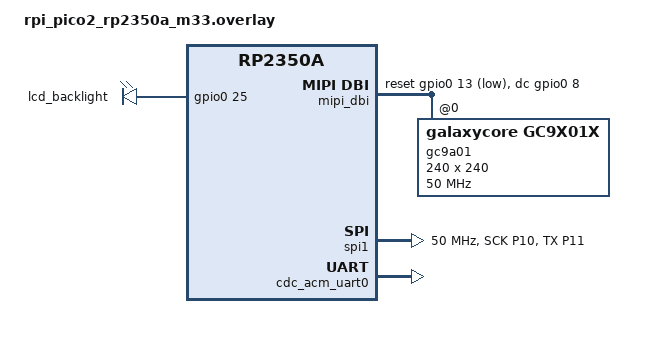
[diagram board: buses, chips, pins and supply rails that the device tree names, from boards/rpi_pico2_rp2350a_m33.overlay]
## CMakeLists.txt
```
cmake_minimum_required(VERSION 3.20.0)

find_package(Zephyr REQUIRED HINTS $ENV{ZEPHYR_BASE})
project(lilly)

# Run image conversion script before build
set(IMG_SCRIPT ${CMAKE_CURRENT_SOURCE_DIR}/convert_images.py)
set(IMG_DIR ${CMAKE_CURRENT_SOURCE_DIR}/src/img)
set(GEN_DIR ${CMAKE_CURRENT_SOURCE_DIR}/src/generated)
set(GEN_C ${GEN_DIR}/images.c)
set(GEN_H ${GEN_DIR}/images.h)

# Find all source images
file(GLOB IMG_FILES ${IMG_DIR}/*.jpg ${IMG_DIR}/*.jpeg ${IMG_DIR}/*.png)

# Custom command to generate image arrays
add_custom_command(
    OUTPUT ${GEN_C} ${GEN_H}
    COMMAND ${Python3_EXECUTABLE} ${IMG_SCRIPT}
    DEPENDS ${IMG_SCRIPT} ${IMG_FILES}
    WORKING_DIRECTORY ${CMAKE_CURRENT_SOURCE_DIR}
    COMMENT "Converting images to RGB565 arrays"
)

# Custom target for image generation
add_custom_target(generate_images DEPENDS ${GEN_C} ${GEN_H})

# Make app depend on generated images
add_dependencies(app generate_images)

# Include generated directory
target_include_directories(app PRIVATE ${GEN_DIR})

target_sources(app PRIVATE
    src/main.c
    ${GEN_C}
)
```

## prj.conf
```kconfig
# Display
CONFIG_DISPLAY=y
CONFIG_GC9X01X=y

# SPI
CONFIG_SPI=y

# GPIO
CONFIG_GPIO=y

# Heap for display buffer
CONFIG_HEAP_MEM_POOL_SIZE=32768

# Logging
CONFIG_LOG=y
CONFIG_LOG_DEFAULT_LEVEL=3

# USB Device Next stack
CONFIG_USB_DEVICE_STACK_NEXT=y
CONFIG_USBD_CDC_ACM_CLASS=y
CONFIG_UART_LINE_CTRL=y

# Console over USB
CONFIG_CONSOLE=y
CONFIG_UART_CONSOLE=y
```

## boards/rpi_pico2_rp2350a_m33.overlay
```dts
/*
 * Waveshare RP2350-Touch-LCD-1.28 Display Overlay
 *
 * Pin mapping (from Waveshare DEV_Config.h):
 *   SPI1_CLK  = GPIO 10
 *   SPI1_MOSI = GPIO 11
 *   LCD_CS    = GPIO 9
 *   LCD_DC    = GPIO 8
 *   LCD_RST   = GPIO 13
 *   LCD_BL    = GPIO 25
 */

#include <zephyr/dt-bindings/display/panel.h>

/ {
	chosen {
		zephyr,display = &gc9a01;
		zephyr,console = &cdc_acm_uart0;
	};

	/* Backlight control - active high to turn on */
	backlight: backlight {
		compatible = "gpio-leds";
		lcd_backlight: lcd_backlight {
			gpios = <&gpio0 25 GPIO_ACTIVE_HIGH>;
		};
	};

	mipi_dbi {
		compatible = "zephyr,mipi-dbi-spi";
		spi-dev = <&spi1>;
		dc-gpios = <&gpio0 8 GPIO_ACTIVE_HIGH>;
		reset-gpios = <&gpio0 13 GPIO_ACTIVE_LOW>;
		write-only;
		#address-cells = <1>;
		#size-cells = <0>;

		gc9a01: gc9a01@0 {
			compatible = "galaxycore,gc9x01x";
			reg = <0>;
			mipi-max-frequency = <50000000>;
			pixel-format = <PANEL_PIXEL_FORMAT_RGB_565>;
			display-inversion;
			width = <240>;
			height = <240>;
		};
	};
};

&pinctrl {
	spi1_default: spi1_default {
		group1 {
			pinmux = <SPI1_SCK_P10>, <SPI1_TX_P11>;
		};
	};
};

&spi1 {
	status = "okay";
	clock-frequency = <50000000>;
	pinctrl-0 = <&spi1_default>;
	pinctrl-names = "default";
	cs-gpios = <&gpio0 9 GPIO_ACTIVE_LOW>;
};

/* Enable USB for CDC ACM and picotool */
&zephyr_udc0 {
	cdc_acm_uart0: cdc_acm_uart0 {
		compatible = "zephyr,cdc-acm-uart";
	};
};
```

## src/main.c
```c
/*
 * Lilly - Christmas Ornament Photo Slideshow
 *
 * Displays a rotating slideshow of photos on a round 240x240 GC9A01 display.
 */

#include <zephyr/kernel.h>
#include <zephyr/device.h>
#include <zephyr/drivers/display.h>
#include <zephyr/drivers/gpio.h>
#include <zephyr/drivers/uart.h>
#include <zephyr/usb/usbd.h>
#include <zephyr/logging/log.h>
#include <string.h>

/* For USB bootloader reboot */
#include <pico/bootrom.h>

#include "images.h"

LOG_MODULE_REGISTER(lilly, LOG_LEVEL_INF);

/* USB Device Next setup */
#define USB_VID 0x2E8A  /* Raspberry Pi */
#define USB_PID 0x000A

USBD_DEVICE_DEFINE(usbd, DEVICE_DT_GET(DT_NODELABEL(zephyr_udc0)),
		   USB_VID, USB_PID);
USBD_DESC_LANG_DEFINE(usbd_lang);
USBD_DESC_MANUFACTURER_DEFINE(usbd_mfr, "Lilly");
USBD_DESC_PRODUCT_DEFINE(usbd_prod, "Christmas Ornament");
USBD_DESC_CONFIG_DEFINE(usbd_cfg_desc, "Default");
USBD_CONFIGURATION_DEFINE(usbd_config, USB_SCD_SELF_POWERED, 100, &usbd_cfg_desc);

static int usb_init(void)
{
	int ret;

	ret = usbd_add_descriptor(&usbd, &usbd_lang);
	if (ret) {
		return ret;
	}

	ret = usbd_add_descriptor(&usbd, &usbd_mfr);
	if (ret) {
		return ret;
	}

	ret = usbd_add_descriptor(&usbd, &usbd_prod);
	if (ret) {
		return ret;
	}

	ret = usbd_add_configuration(&usbd, USBD_SPEED_FS, &usbd_config);
	if (ret) {
		return ret;
	}

	ret = usbd_register_all_classes(&usbd, USBD_SPEED_FS, 1, NULL);
	if (ret) {
		return ret;
	}

	ret = usbd_init(&usbd);
	if (ret) {
		return ret;
	}

	return usbd_enable(&usbd);
}

/* Backlight GPIO - must be turned on for display to be visible */
static const struct gpio_dt_spec backlight = GPIO_DT_SPEC_GET(DT_NODELABEL(lcd_backlight), gpios);

/* CDC ACM UART for console and bootloader trigger */
static const struct device *cdc_dev;

/*
 * Check for bootloader reboot command ('R' on USB serial)
 * Call this periodically in your main loop
 */
static void check_usb_bootloader_cmd(void)
{
	uint8_t c;

	if (cdc_dev && uart_poll_in(cdc_dev, &c) == 0) {
		if (c == 'R' || c == 'r') {
			LOG_INF("Rebooting to USB bootloader...");
			k_sleep(K_MSEC(100)); /* Let log flush */
			reset_usb_boot(0, 0);
		}
	}
}

/* Slideshow timing */
#define SLIDE_DURATION_MS     6000  

#define CROSSFADE_STEPS       (50)

/* Full framebuffer mode: uses ~112KB RAM but fewer SPI transactions */
#define USE_FULL_FRAMEBUFFER  1

/* Byte-swap macro for big-endian display */
#define SWAP16(x) (((x) >> 8) | (((x) & 0xFF) << 8))

/* RGB565 color definitions (byte-swapped for big-endian display) */
#define RGB565_RED     SWAP16(0xF800)  /* R=31, G=0,  B=0  */
#define RGB565_GREEN   SWAP16(0x07E0)  /* R=0,  G=63, B=0  */
#define RGB565_BLUE    SWAP16(0x001F)  /* R=0,  G=0,  B=31 */
#define RGB565_WHITE   SWAP16(0xFFFF)
#define RGB565_BLACK   SWAP16(0x0000)
#define RGB565_YELLOW  SWAP16(0xFFE0)  /* R=31, G=63, B=0  */
#define RGB565_CYAN    SWAP16(0x07FF)  /* R=0,  G=63, B=31 */
#define RGB565_MAGENTA SWAP16(0xF81F)  /* R=31, G=0,  B=31 */

#if USE_FULL_FRAMEBUFFER
/* Full framebuffer: 240x240x2 = 115,200 bytes (~112KB) */
static uint16_t frame_buf[IMAGE_WIDTH * IMAGE_HEIGHT];
#else
/* Row buffer for display output */
static uint16_t row_buf[IMAGE_WIDTH];
#endif

/*
 * Convert RGB888 to RGB565 (byte-swapped for big-endian display)
 */
static inline uint16_t rgb888_to_rgb565(uint8_t r, uint8_t g, uint8_t b)
{
	uint16_t rgb565 = ((r & 0xF8) << 8) | ((g & 0xFC) << 3) | (b >> 3);
	return SWAP16(rgb565);
}

#if !USE_FULL_FRAMEBUFFER
static void display_color_test(const struct device *dev)
{
	struct display_buffer_descriptor desc;
	int y;

	desc.buf_size = sizeof(row_buf);
	desc.pitch = 240;
	desc.width = 240;
	desc.height = 1;
	desc.frame_incomplete = false;

	LOG_INF("=== COLOR TEST PATTERN ===");
	LOG_INF("Rows 0-39:    Should be RED");
	LOG_INF("Rows 40-79:   Should be GREEN");
	LOG_INF("Rows 80-119:  Should be BLUE");
	LOG_INF("Rows 120-159: Should be WHITE");
	LOG_INF("Rows 160-199: Should be YELLOW");
	LOG_INF("Rows 200-239: Should be CYAN");

	for (y = 0; y < 240; y++) {
		uint16_t color;

		if (y < 40) {
			color = RGB565_RED;
		} else if (y < 80) {
			color = RGB565_GREEN;
		} else if (y < 120) {
			color = RGB565_BLUE;
		} else if (y < 160) {
			color = RGB565_WHITE;
		} else if (y < 200) {
			color = RGB565_YELLOW;
		} else {
			color = RGB565_CYAN;
		}

		/* Fill row with color */
		for (int x = 0; x < 240; x++) {
			row_buf[x] = color;
		}

		display_write(dev, 0, y, &desc, row_buf);
	}

	LOG_INF("=== What colors do you see? ===");
}
#endif

/*
 * Fade in an image from black
 * alpha: 0 = black, 255 = full image
 */
static int display_fade_from_black(const struct device *dev,
				   const image_t *img,
				   uint8_t alpha)
{
	struct display_buffer_descriptor desc;
	int ret = 0;
	const uint8_t *src = img->data;

#if USE_FULL_FRAMEBUFFER
	uint16_t *dst = frame_buf;
	for (int i = 0; i < IMAGE_PIXELS; i++) {
		uint8_t r = (src[0] * alpha) >> 8;
		uint8_t g = (src[1] * alpha) >> 8;
		uint8_t b = (src[2] * alpha) >> 8;
		*dst++ = rgb888_to_rgb565(r, g, b);
		src += IMAGE_STRIDE;
	}

	desc.buf_size = sizeof(frame_buf);
	desc.pitch = IMAGE_WIDTH;
	desc.width = IMAGE_WIDTH;
	desc.height = IMAGE_HEIGHT;
	desc.frame_incomplete = false;

	ret = display_write(dev, 0, 0, &desc, frame_buf);
#else
	desc.buf_size = sizeof(row_buf);
	desc.pitch = IMAGE_WIDTH;
	desc.width = IMAGE_WIDTH;
	desc.height = 1;
	desc.frame_incomplete = false;

	for (int y = 0; y < IMAGE_HEIGHT; y++) {
		for (int x = 0; x < IMAGE_WIDTH; x++) {
			uint8_t r = (src[0] * alpha) >> 8;
			uint8_t g = (src[1] * alpha) >> 8;
			uint8_t b = (src[2] * alpha) >> 8;

			row_buf[x] = rgb888_to_rgb565(r, g, b);
			src += IMAGE_STRIDE;
		}

		ret = display_write(dev, 0, y, &desc, row_buf);
		if (ret < 0) {
			return ret;
		}
	}
#endif

	return ret;
}

/*
 * Display a crossfade blend of two RGB888 images
 * alpha: 0 = show img_from, 255 = show img_to
 * Blending is done in 8-bit RGB space, then converted to RGB565
 */
static int display_crossfade(const struct device *dev,
			     const image_t *img_from,
			     const image_t *img_to,
			     uint8_t alpha)
{
	struct display_buffer_descriptor desc;
	int ret = 0;
	uint8_t inv_alpha = 255 - alpha;
	const uint8_t *src_from = img_from->data;
	const uint8_t *src_to = img_to->data;

#if USE_FULL_FRAMEBUFFER
	uint16_t *dst = frame_buf;
	for (int i = 0; i < IMAGE_PIXELS; i++) {
		uint8_t r = (src_from[0] * inv_alpha + src_to[0] * alpha) >> 8;
		uint8_t g = (src_from[1] * inv_alpha + src_to[1] * alpha) >> 8;
		uint8_t b = (src_from[2] * inv_alpha + src_to[2] * alpha) >> 8;
		*dst++ = rgb888_to_rgb565(r, g, b);
		src_from += IMAGE_STRIDE;
		src_to += IMAGE_STRIDE;
	}

	desc.buf_size = sizeof(frame_buf);
	desc.pitch = IMAGE_WIDTH;
	desc.width = IMAGE_WIDTH;
	desc.height = IMAGE_HEIGHT;
	desc.frame_incomplete = false;

	ret = display_write(dev, 0, 0, &desc, frame_buf);
#else
	desc.buf_size = sizeof(row_buf);
	desc.pitch = IMAGE_WIDTH;
	desc.width = IMAGE_WIDTH;
	desc.height = 1;
	desc.frame_incomplete = false;

	/* Blend and write row by row */
	for (int y = 0; y < IMAGE_HEIGHT; y++) {
		/* Blend each pixel: simple 8-bit math */
		for (int x = 0; x < IMAGE_WIDTH; x++) {
			uint8_t r = (src_from[0] * inv_alpha + src_to[0] * alpha) >> 8;
			uint8_t g = (src_from[1] * inv_alpha + src_to[1] * alpha) >> 8;
			uint8_t b = (src_from[2] * inv_alpha + src_to[2] * alpha) >> 8;

			row_buf[x] = rgb888_to_rgb565(r, g, b);

			src_from += IMAGE_STRIDE;
			src_to += IMAGE_STRIDE;
		}

		ret = display_write(dev, 0, y, &desc, row_buf);
		if (ret < 0) {
			return ret;
		}
	}
#endif

	return ret;
}

int main(void)
{
	const struct device *display_dev;
	struct display_capabilities caps;
	int current_image = 0;
	int ret;

	/* Enable USB for console */
	if (usb_init()) {
		LOG_WRN("USB init failed");
	}

	/* Get CDC ACM device for bootloader command */
	cdc_dev = DEVICE_DT_GET(DT_NODELABEL(cdc_acm_uart0));
	if (!device_is_ready(cdc_dev)) {
		LOG_WRN("CDC ACM device not ready");
		cdc_dev = NULL;
	}

	/* Brief delay for USB enumeration */
	k_sleep(K_MSEC(500));
	LOG_INF("Send 'R' over USB serial to reboot to bootloader");

	LOG_INF("=================================");
	LOG_INF("Lilly - Christmas Ornament");
	LOG_INF("Photo Slideshow");
	LOG_INF("=================================");
	LOG_INF("Images: %d", IMAGE_COUNT);

	if (gpio_is_ready_dt(&backlight)) {
		gpio_pin_configure_dt(&backlight, GPIO_OUTPUT_ACTIVE);
		gpio_pin_set_dt(&backlight, 1);
		LOG_INF("Backlight ON (GPIO %d)", backlight.pin);
	} else {
		LOG_ERR("Backlight GPIO not ready!");
	}

	/* Get display device */
	display_dev = DEVICE_DT_GET(DT_CHOSEN(zephyr_display));
	if (!device_is_ready(display_dev)) {
		LOG_ERR("Display device not ready!");
		while (1) {
			k_sleep(K_MSEC(1000));
		}
	}

	/* Get display capabilities */
	display_get_capabilities(display_dev, &caps);
	LOG_INF("Display: %s", display_dev->name);
	LOG_INF("Resolution: %dx%d", caps.x_resolution, caps.y_resolution);
#if USE_FULL_FRAMEBUFFER
	LOG_INF("Mode: Full framebuffer (%d KB)", sizeof(frame_buf) / 1024);
#else
	LOG_INF("Mode: Row-by-row (%d bytes)", sizeof(row_buf));
#endif

	/* Turn on display */
	ret = display_blanking_off(display_dev);
	if (ret < 0 && ret != -ENOSYS) {
		LOG_WRN("Failed to turn off blanking: %d", ret);
	}

	/* Fade in first image from black */
	const image_t *img = &images[current_image];

	for (int step = 0; step <= CROSSFADE_STEPS; step++) {
		uint8_t alpha = (step * 255) / CROSSFADE_STEPS;
		ret = display_fade_from_black(display_dev, img, alpha);
		if (ret < 0) {
			LOG_ERR("Fade-in failed: %d", ret);
			break;
		}
	}

	/* Main slideshow loop */
	while (1) {

		/* Hold on current image */
		for (int i = 0; i < (SLIDE_DURATION_MS) / 100; i++) {
			k_sleep(K_MSEC(100));
		}

		/* Calculate next image index */
		int next_image = (current_image + 1) % IMAGE_COUNT;
		const image_t *img_from = &images[current_image];
		const image_t *img_to = &images[next_image];

		LOG_INF("Crossfading to: %s (%d/%d)", img_to->name, next_image + 1, IMAGE_COUNT);

		/* Crossfade transition */
		for (int step = 0; step <= CROSSFADE_STEPS; step++) {
	
			uint8_t alpha = (step * 255) / CROSSFADE_STEPS;

			ret = display_crossfade(display_dev, img_from, img_to, alpha);

		}

		/* Move to next image */
		current_image = next_image;
	}

	return 0;
}
```
